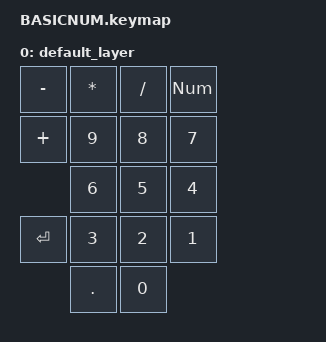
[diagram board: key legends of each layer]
#include <behaviors.dtsi>
#include <dt-bindings/zmk/keys.h>

/ {
    keymap {
        compatible = "zmk,keymap";

        default_layer {

        bindings = <
    &kp -    &kp *    &kp /    &kp Num
    &kp +    &kp 9    &kp 8    &kp 7
             &kp 6    &kp 5    &kp 4   
    &kp RET  &kp 3    &kp 2    &kp 1
             &kp .    &kp 0 
            >;

        
        };
    };
};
